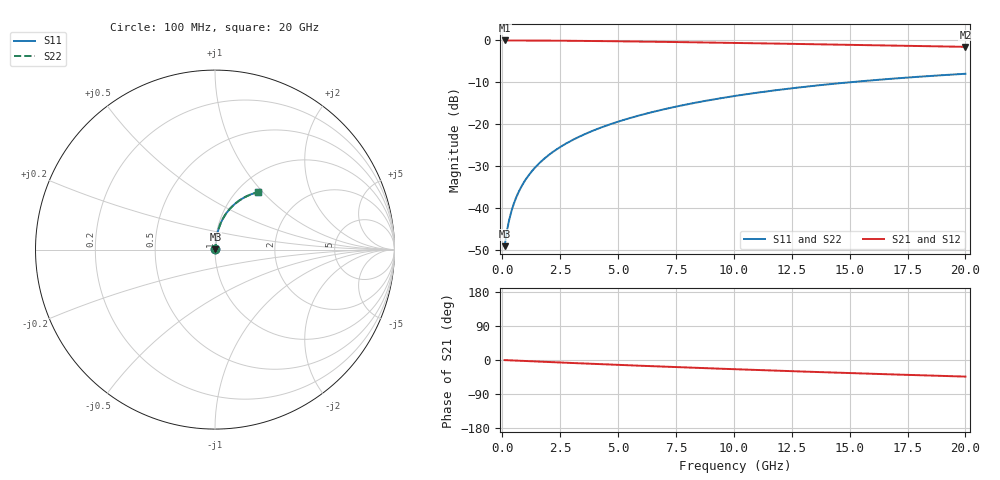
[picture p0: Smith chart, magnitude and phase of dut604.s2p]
! Touchstone file exported from HFSS 2024.1.0
!  File:  C:/UserFiles/LocalFiles/RDL_TSV_Batchsim/temp_RDL_top_604_1779779561.aedt
!  Generated:  03:14:49 PM May 26, 2026
!  Design:  RDL_top
!  Project:  temp_RDL_top_604_1779779561
!  Setup:  Setup1
!  Solution:  Sweep
! Variables:
!  dtsv = 10.80580581um
!  hbump = 3um
!  htsv = 71.52um
!  ldown = 100um
!  lrdl = 631.55um
!  p = 40
!  p1 = 48.58um
!  rhole = 1um
!  t = 450um
!  tdown = 3.915915916um
!  trdl = 4.77um
!  wdown = 15.38538539um
!  wrdl = 18.94um
# GHz S MA R 50.000000
! Terminal data exported
! Port[1] = Box2_T1
! Port[2] = Box2_T2
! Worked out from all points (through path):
!   200 points, 100 MHz to 20 GHz, reference 50 ohm
!   highest |S21| = -0.02 dB at 100 MHz (marker M1); lowest = -1.5 dB at 20 GHz (marker M2)
!   group delay of S21, straight-line fit = 6.04 ps
!   lowest |S11| = -49.2 dB at 100 MHz (marker M3), VSWR 1.01, Z = 50.3 + j0.23 ohm
!   |S11| at or under -10 dB: start of sweep to 15.04 GHz
!   |S22| runs from -49.2 to -8.0 dB; largest |S21 - S12| = 6.2e-15
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0.1  0.00347 41.1  0.9974 -0.3  0.9974 -0.3  0.00347 41.1
! Gamma 0 0 0 0
! Port Impedance 50 0 50 0
0.2  0.00526 58.4  0.9972 -0.5  0.9972 -0.5  0.00526 58.4
0.3  0.007213 66.3  0.9971 -0.8  0.9971 -0.8  0.007213 66.3
0.4  0.009206 70.9  0.9969 -1.1  0.9969 -1.1  0.009206 70.9
0.5  0.01122 73.9  0.9968 -1.3  0.9968 -1.3  0.01122 73.9
0.6  0.01325 76.0  0.9966 -1.6  0.9966 -1.6  0.01325 76.0
0.8  0.01736 78.7  0.9963 -2.1  0.9963 -2.1  0.01736 78.7
1.1  0.02359 80.9  0.9957 -2.9  0.9957 -2.9  0.02359 80.9
1.5  0.03197 82.2  0.9946 -4.0  0.9946 -4.0  0.03197 82.2
1.8  0.03828 82.7  0.9936 -4.8  0.9936 -4.8  0.03828 82.7
2.1  0.04461 82.9  0.9925 -5.5  0.9925 -5.5  0.0446 82.9
2.7  0.05732 82.9  0.9897 -7.1  0.9897 -7.1  0.05731 82.9
3.5  0.07438 82.5  0.9853 -9.1  0.9853 -9.1  0.07436 82.4
4.2  0.08941 81.8  0.9809 -10.9  0.9809 -10.9  0.08939 81.8
5  0.1067 80.8  0.9752 -12.8  0.9752 -12.8  0.1067 80.8
6.8  0.1461 78.2  0.9608 -17.1  0.9608 -17.1  0.146 78.2
8.4  0.1811 75.4  0.9469 -20.7  0.9469 -20.7  0.181 75.4
10.1  0.2177 72.2  0.9314 -24.4  0.9314 -24.4  0.2176 72.2
11.7  0.2512 69.1  0.9163 -27.8  0.9163 -27.8  0.251 69.1
13.4  0.2852 65.7  0.9 -31.3  0.9 -31.3  0.285 65.7
16.7  0.3458 59.3  0.8682 -37.7  0.8682 -37.7  0.3456 59.3
20  0.3986 53.2  0.8367 -43.8  0.8367 -43.8  0.3984 53.2
